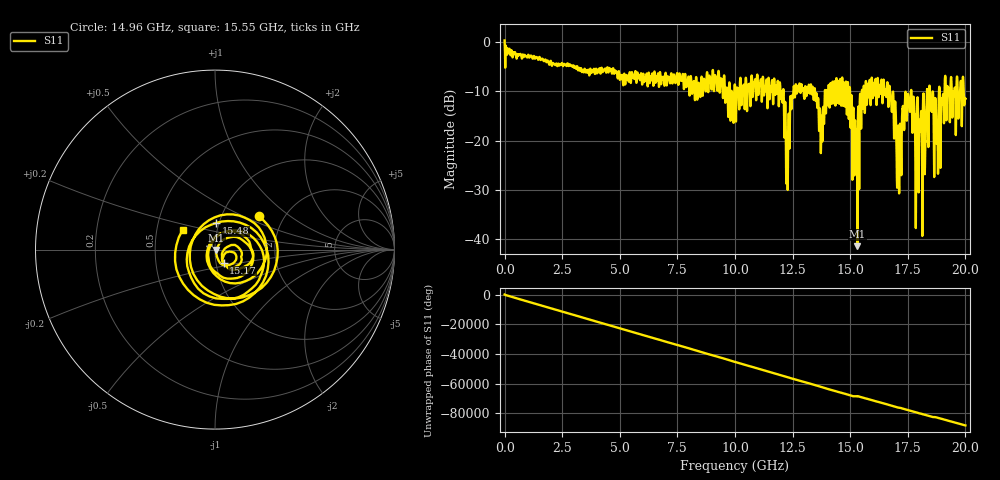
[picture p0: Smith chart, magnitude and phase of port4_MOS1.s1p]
! MS46122B
! 2250307/22442219
! 7/25/2025 1:39:00 PM
! C:\USERS\SPARKY\DOCUMENTS\VNA_DATA\JULY25_2025\3K\PORT4_MOS1.S1P
! CHANNEL.1
! TR.MEASUREMENT
! RAW.DATA
# GHZ S RI R 50.0
! FREQ.GHZ  S11RE  S11IM
!; PortSelection: Port_1
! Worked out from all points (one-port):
!   10001 points, 1 MHz to 20 GHz, reference 50 ohm
!   lowest |S11| = -41.5 dB at 15.31 GHz (marker M1), VSWR 1.02, Z = 50.8 - j0.146 ohm
!   |S11| at or under -10 dB: 14.99 GHz to 15.51 GHz (514.6 MHz wide, 3.37 % of centre); 16.73 GHz to 17.64 GHz (909.1 MHz wide, 5.29 % of centre); 17.66 GHz to 18.33 GHz (672.5 MHz wide, 3.74 % of centre) (the widest 3 of 87)
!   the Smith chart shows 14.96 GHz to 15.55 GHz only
!   S11 on the Smith chart (normalised r, x): 14.96 GHz: 1.49, +0.62; 15.17 GHz: 1.09, -0.16; 15.48 GHz: 0.97, +0.29; 15.55 GHz: 0.68, +0.15
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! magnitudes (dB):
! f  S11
! 1 MHz  0.4
! 2.501 GHz  -4.3
! 5.001 GHz  -7.6
! 7.501 GHz  -6.4
! 9.215 GHz  -8.6
! 10 GHz  -8.7
! 11.78 GHz  -8.8
! 12.03 GHz  -10.0
! 12.29 GHz  -30.1
! 12.5 GHz  -11.2
! 13.29 GHz  -8.6
! 13.73 GHz  -22.4
! 14.15 GHz  -8.3
! 14.96 GHz  -10.3
! 15 GHz  -11.6
! 15.17 GHz  -21.2
! 15.31 GHz  -41.5
! 15.48 GHz  -16.5
! 15.55 GHz  -13.5
! 16.68 GHz  -11.0
! 17.12 GHz  -30.4
! 17.5 GHz  -10.6
! 17.71 GHz  -17.3
! 17.92 GHz  -11.6
! 18.51 GHz  -13.3
! 18.73 GHz  -15.8
! 19.19 GHz  -11.9
! 20 GHz  -11.6
